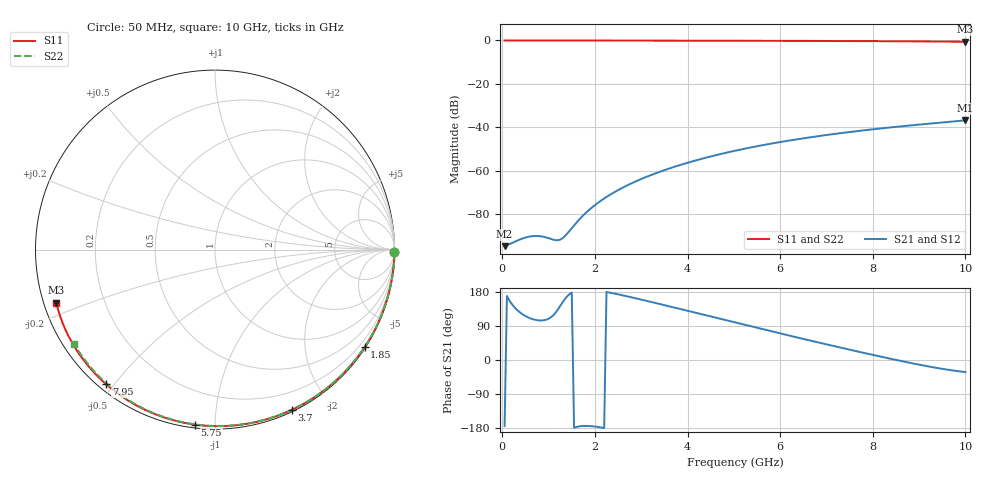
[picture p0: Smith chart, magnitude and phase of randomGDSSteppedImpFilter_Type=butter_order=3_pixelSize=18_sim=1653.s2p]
! freq	dB(S11)	phase(S11)	dB(S12)	phase(S12)
!  dB(S21)	phase(S21)	dB(S22)	phase(S22)
!S-par simulation data
#  GHz  S  DB  R 50
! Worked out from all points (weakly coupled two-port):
!   200 points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, 50 MHz to 10 GHz, reference 50 ohm
!   highest |S21| = -36.78 dB at 10 GHz (marker M1); lowest = -94.7 dB at 50 MHz (marker M2)
!   lowest |S11| = -0.6 dB at 10 GHz (marker M3), VSWR 28.49, Z = 1.8 - j8.1 ohm
!   |S11| at or under -10 dB: nowhere
!   |S22| runs from -0.5 to 0.0 dB; largest |S21 - S12| = 0
!   S11 on the Smith chart (normalised r, x): 50 MHz: open; 1.85 GHz: 0.03, -3.36; 3.7 GHz: 0.02, -1.59; 5.75 GHz: 0.02, -0.89; 7.95 GHz: 0.02, -0.48; 10 GHz: 0.04, -0.16
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0.05  -0.00 -0.9  -94.70 -174.1  -94.70 -174.1  -0.00 -0.8
0.45  -0.01 -8.2  -91.06 119.6  -91.06 119.6  -0.01 -7.6
0.85  -0.02 -15.4  -90.21 104.3  -90.21 104.3  -0.02 -14.3
1.3  -0.03 -23.4  -91.06 152.0  -91.06 152.0  -0.03 -21.8
1.75  -0.04 -31.4  -80.46 -174.0  -80.46 -174.0  -0.04 -29.2
1.8  -0.04 -32.2  -79.44 -173.8  -79.44 -173.8  -0.04 -30.0
1.85  -0.04 -33.1  -78.46 -174.0  -78.46 -174.0  -0.04 -30.8
2  -0.05 -35.7  -75.80 -175.6  -75.80 -175.6  -0.04 -33.3
2.15  -0.05 -38.3  -73.46 -178.3  -73.46 -178.3  -0.05 -35.7
2.5  -0.06 -44.4  -68.89 173.3  -68.89 173.3  -0.05 -41.3
2.9  -0.07 -51.2  -64.70 162.3  -64.70 162.3  -0.06 -47.7
3.4  -0.08 -59.5  -60.45 147.8  -60.45 147.8  -0.07 -55.5
3.7  -0.09 -64.4  -58.27 138.9  -58.27 138.9  -0.08 -60.1
4.35  -0.11 -74.9  -54.22 119.4  -54.22 119.4  -0.10 -69.9
5.05  -0.13 -85.9  -50.65 98.4  -50.65 98.4  -0.12 -80.1
5.75  -0.16 -96.5  -47.70 77.5  -47.70 77.5  -0.15 -90.0
6.7  -0.22 -110.6  -44.42 49.8  -44.42 49.8  -0.20 -103.0
7.3  -0.26 -119.4  -42.68 32.8  -42.68 32.8  -0.24 -111.0
7.95  -0.31 -128.9  -41.02 14.9  -41.02 14.9  -0.29 -119.5
8.35  -0.35 -134.8  -40.10 4.2  -40.10 4.2  -0.32 -124.7
9.25  -0.46 -148.6  -38.25 -18.1  -38.25 -18.1  -0.41 -136.3
10  -0.61 -161.6  -36.78 -31.7  -36.78 -31.7  -0.49 -146.0
